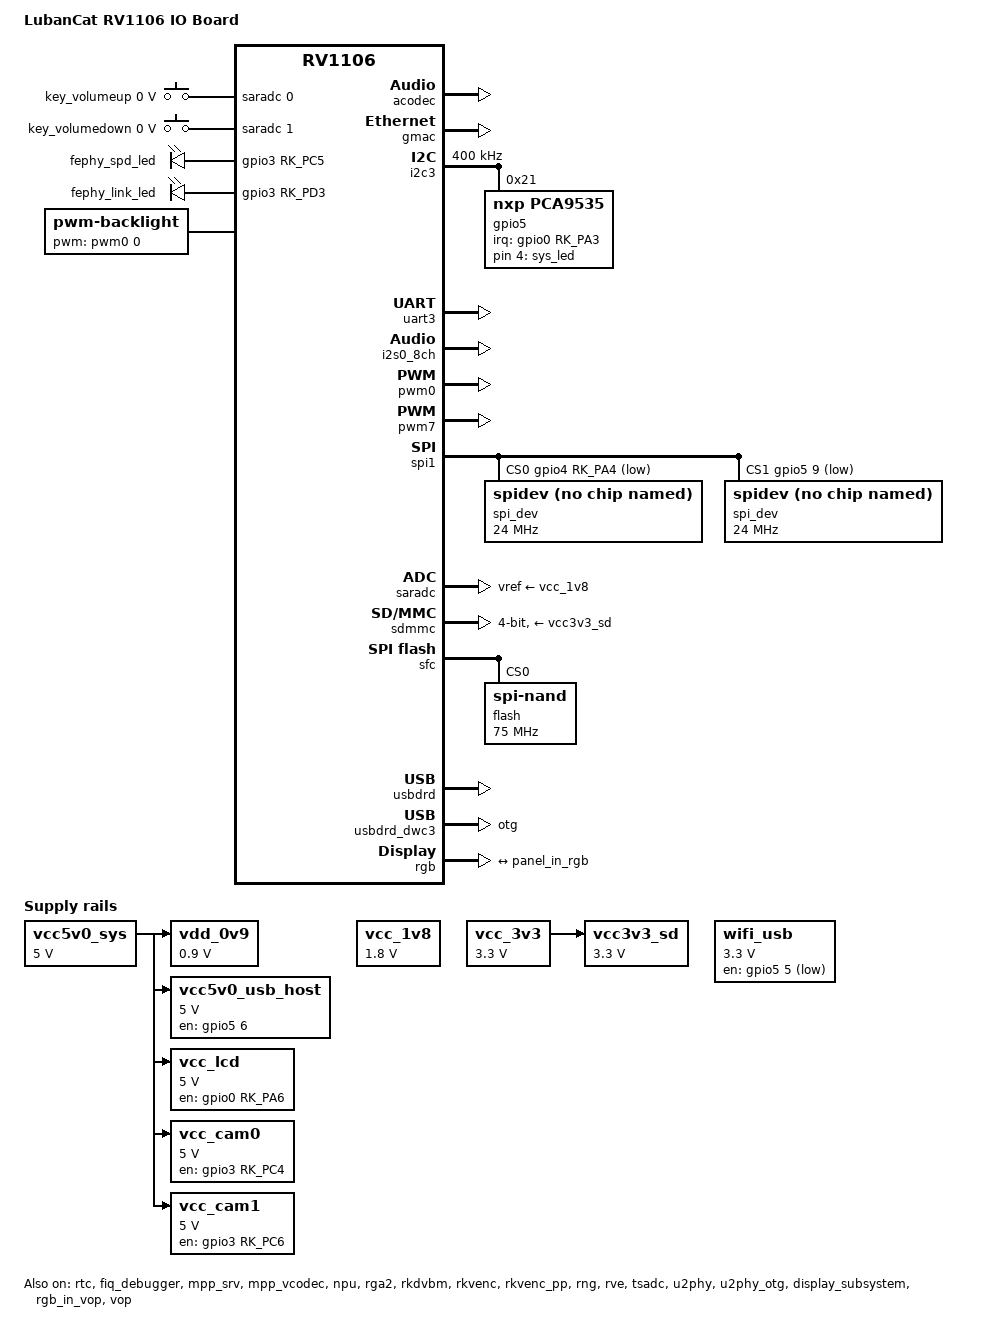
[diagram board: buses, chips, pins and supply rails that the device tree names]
// SPDX-License-Identifier: (GPL-2.0+ OR MIT)
/*
 * Copyright (c) 2022 Rockchip Electronics Co., Ltd.
 */

/dts-v1/;

#include "rv1106.dtsi"

//screen
#include "rv1106g-lubancat-screen-rgb.dtsi"

//camara
#include "rv1106g-lubancat-single-cam.dtsi"
// #include "rv1106g-lubancat-dual-cam.dtsi"

/ {
    model = "LubanCat RV1106 IO Board";
	compatible = "embedfire,rv1106g-lubancat-rv", "rockchip,rv1106";

	chosen {
		bootargs = "earlycon=uart8250,mmio32,0xff4c0000 console=ttyFIQ0 root=/dev/mmcblk0p5 rootfstype=ext4 rootwait snd_soc_core.prealloc_buffer_size_kbytes=16 coherent_pool=0 net.ifnames=0 biosdevname=0";
	};

	acodec_sound: acodec-sound {
		compatible = "simple-audio-card";
		simple-audio-card,name = "rv1106-acodec";
		simple-audio-card,format = "i2s";
		simple-audio-card,mclk-fs = <256>;
		simple-audio-card,cpu {
			sound-dai = <&i2s0_8ch>;
		};
		simple-audio-card,codec {
			sound-dai = <&acodec>;
		};
	};

	restart-poweroff {
		compatible = "restart-poweroff";
	};

	recovery-key {
		compatible = "adc-keys";
		io-channels = <&saradc 0>;
		io-channel-names = "buttons";
		poll-interval = <100>;
		keyup-threshold-microvolt = <1800000>;

		key {
			label = "key_volumeup";
			linux,code = <KEY_VOLUMEUP>;
			press-threshold-microvolt = <0>;
		};
	};

	adc-key {
		compatible = "adc-keys";
		io-channels = <&saradc 1>;
		io-channel-names = "buttons";
		poll-interval = <100>;
		keyup-threshold-microvolt = <1800000>;

		key {
			label = "key_volumedown";
			linux,code = <KEY_VOLUMEDOWN>;
			press-threshold-microvolt = <0>;
		};
	};

	leds: leds {
		status = "okay";
		compatible = "gpio-leds";

		sys_led: sys-led {
			label = "sys_led";
			linux,default-trigger = "heartbeat";
			default-state = "on";
			gpios = <&gpio5 4 GPIO_ACTIVE_HIGH>;
		};

		fephy_spd_led: fephy-spd-led {
			label = "fephy_spd_led";
			linux,default-trigger = "netdev";
			default-state = "off";
			gpios = <&gpio3 RK_PC5 GPIO_ACTIVE_HIGH>;
		};

		fephy_link_led: fephy-link-led {
			label = "fephy_link_led";
			linux,default-trigger = "netdev";
			default-state = "off";
			gpios = <&gpio3 RK_PD3 GPIO_ACTIVE_HIGH>;
		};
	};

	backlight: backlight {
		status = "okay";
		compatible = "pwm-backlight";
		pwms = <&pwm0 0 50000 0>;
		brightness-levels = <
			  0   1   2   3   4   5   6   7
			  8   9  10  11  12  13  14  15
			 16  17  18  19  20  21  22  23
			 24  25  26  27  28  29  30  31
			 32  33  34  35  36  37  38  39
			 40  41  42  43  44  45  46  47
			 48  49  50  51  52  53  54  55
			 56  57  58  59  60  61  62  63
			 64  65  66  67  68  69  70  71
			 72  73  74  75  76  77  78  79
			 80  81  82  83  84  85  86  87
			 88  89  90  91  92  93  94  95
			 96  97  98  99 100 101 102 103
			104 105 106 107 108 109 110 111
			112 113 114 115 116 117 118 119
			120 121 122 123 124 125 126 127
			128 129 130 131 132 133 134 135
			136 137 138 139 140 141 142 143
			144 145 146 147 148 149 150 151
			152 153 154 155 156 157 158 159
			160 161 162 163 164 165 166 167
			168 169 170 171 172 173 174 175
			176 177 178 179 180 181 182 183
			184 185 186 187 188 189 190 191
			192 193 194 195 196 197 198 199
			200 201 202 203 204 205 206 207
			208 209 210 211 212 213 214 215
			216 217 218 219 220 221 222 223
			224 225 226 227 228 229 230 231
			232 233 234 235 236 237 238 239
			240 241 242 243 244 245 246 247
			248 249 250 251 252 253 254 255>;
		default-brightness-level = <255>;
	};

	reserved-memory {
		#address-cells = <1>;
		#size-cells = <1>;
		ranges;

		linux,cma {
			compatible = "shared-dma-pool";
			inactive;
			reusable;
			size = <0x1000000>;
			linux,cma-default;
		};

		drm_logo: drm-logo@00000000 {
			compatible = "rockchip,drm-logo";
			reg = <0x0 0x0>;
		};
	};

	vdd_0v9: vdd-0v9 {
		compatible = "regulator-fixed";
		regulator-name = "vdd_0v9";
		regulator-always-on;
		regulator-boot-on;
		regulator-min-microvolt = <900000>;
		regulator-max-microvolt = <900000>;
		vin-supply = <&vcc5v0_sys>;
	};

	vcc5v0_sys: vcc5v0-sys {
		compatible = "regulator-fixed";
		regulator-name = "vcc5v0_sys";
		regulator-always-on;
		regulator-boot-on;
		regulator-min-microvolt = <5000000>;
		regulator-max-microvolt = <5000000>;
	};

	vcc_1v8: vcc-1v8 {
		compatible = "regulator-fixed";
		regulator-name = "vcc_1v8";
		regulator-always-on;
		regulator-boot-on;
		regulator-min-microvolt = <1800000>;
		regulator-max-microvolt = <1800000>;
	};

	vcc_3v3: vcc-3v3 {
		compatible = "regulator-fixed";
		regulator-name = "vcc_3v3";
		regulator-always-on;
		regulator-boot-on;
		regulator-min-microvolt = <3300000>;
		regulator-max-microvolt = <3300000>;
	};

	vcc3v3_sd: vcc3v3-sd {
		compatible = "regulator-fixed";
		regulator-name = "vcc3v3_sd";
		regulator-always-on;
		regulator-boot-on;
		regulator-min-microvolt = <3300000>;
		regulator-max-microvolt = <3300000>;
		vin-supply = <&vcc_3v3>;
	};

	vcc5v0_usb_host: vcc5v0-usb-host {
		compatible = "regulator-fixed";
		regulator-name = "vcc5v0_usb_host";
		regulator-always-on;
		enable-active-high;
		regulator-boot-on;
		regulator-min-microvolt = <5000000>;
		regulator-max-microvolt = <5000000>;
		gpio = <&gpio5 6 GPIO_ACTIVE_HIGH>;
		vin-supply = <&vcc5v0_sys>;
	};

	vcc_lcd: vcc-lcd {
		compatible = "regulator-fixed";
		regulator-name = "vcc_lcd";
		regulator-always-on;
		enable-active-high;
		regulator-boot-on;
		regulator-min-microvolt = <5000000>;
		regulator-max-microvolt = <5000000>;
		gpio = <&gpio0 RK_PA6 GPIO_ACTIVE_HIGH>;
		vin-supply = <&vcc5v0_sys>;
	};

	vcc_cam0: vcc-cam0 {
		compatible = "regulator-fixed";
		regulator-name = "vcc_cam0";
		regulator-always-on;
		enable-active-high;
		regulator-boot-on;
		regulator-min-microvolt = <5000000>;
		regulator-max-microvolt = <5000000>;
		gpio = <&gpio3 RK_PC4 GPIO_ACTIVE_HIGH>;
		vin-supply = <&vcc5v0_sys>;
	};

	vcc_cam1: vcc-cam1 {
		compatible = "regulator-fixed";
		regulator-name = "vcc_cam1";
		regulator-always-on;
		enable-active-high;
		regulator-boot-on;
		regulator-min-microvolt = <5000000>;
		regulator-max-microvolt = <5000000>;
		gpio = <&gpio3 RK_PC6 GPIO_ACTIVE_HIGH>;
		vin-supply = <&vcc5v0_sys>;
	};	

	wifi_usb: wifi-usb {
		compatible = "regulator-fixed";
		regulator-name = "wifi_usb";
		regulator-always-on;
		enable-active-low;
		regulator-min-microvolt = <3300000>;
		regulator-max-microvolt = <3300000>;	
		gpio = <&gpio5 5 GPIO_ACTIVE_LOW>;
	};

	wireless_wlan: wireless-wlan {
		compatible = "wlan-platdata";
		wifi_chip_type = "AIC8800DC";
		status = "okay";
	};

};

&acodec {
	#sound-dai-cells = <0>;
	pa-ctl-gpios = <&gpio5 7 GPIO_ACTIVE_LOW>;
	status = "okay";
};

&cpu0 {
	cpu-supply = <&vdd_0v9>;
};

&gmac {
	status = "okay";
};

&i2c3 {
    status = "okay";
    clock-frequency = <400000>;
    pinctrl-names = "default";
    pinctrl-0 = <&i2c3m2_xfer>;
	#address-cells = <1>;
	#size-cells = <0>;

	gpio5: gpio-expander@21 {
		compatible = "nxp,pca9535";
		status = "okay";
		reg = <0x21>;
		gpio-controller;
		#gpio-cells = <2>;
		//  = <&gpio5 0 GPIO_ACTIVE_LOW>;
		pinctrl-names = "default";
		pinctrl-0 = <&pinctrl_pca9535>;
		interrupt-parent = <&gpio0>;
		interrupts = <RK_PA3 GPIO_ACTIVE_LOW>;
		interrupt-controller;
		#interrupt-cells = <2>;
	};
};

&uart3 {
	status = "okay";
	pinctrl-names = "default";
	pinctrl-0 = <&uart3m0_xfer>;
};

&i2s0_8ch {
	#sound-dai-cells = <0>;
	status = "okay";
};

&pwm0 {
	status = "okay";
};

&pwm7 {
	status = "okay";
	pinctrl-names = "active";
	pinctrl-0 = <&pwm7m1_pins>;
};

&spi1 {
	status = "okay";
	status = "okay";
	#address-cells = <1>;
	#size-cells = <0>;
	// SPI gpio模拟多个cs信号 
	pinctrl-names = "default";
	pinctrl-0 = <&spi1m0_cs0 &spi1m0_pins>;
	cs-gpios = <&gpio4 RK_PA4 GPIO_ACTIVE_LOW>, <&gpio5 9 GPIO_ACTIVE_LOW>;

	spi_dev@0 {
		compatible = "rockchip,spidev";
		reg = <0>; //chip select 0:cs0  1:cs1
		spi-max-frequency = <24000000>; //spi output clock
	};

	spi_dev@1 {
		compatible = "rockchip,spidev";
		reg = <1>;
		spi-max-frequency = <24000000>;
	};
};

&rmii_phy {
	bgs,increment = <0>;
};

&rtc {
	status = "okay";
};

&saradc {
	status = "okay";
	vref-supply = <&vcc_1v8>;
};

&sdmmc {
	max-frequency = <200000000>;
	no-sdio;
	no-mmc;
	bus-width = <4>;
	cap-mmc-highspeed;
	cap-sd-highspeed;
	disable-wp;
	pinctrl-names = "normal", "idle";
	pinctrl-0 = <&sdmmc0_clk &sdmmc0_cmd &sdmmc0_det &sdmmc0_bus4>;
	pinctrl-1 = <&sdmmc0_idle_pins &sdmmc0_det>;
	vmmc-supply = <&vcc3v3_sd>;
	status = "okay";
};

&sfc {
	status = "okay";

	flash@0 {
		compatible = "spi-nand";
		reg = <0>;
		spi-max-frequency = <75000000>;
		spi-rx-bus-width = <4>;
		spi-tx-bus-width = <1>;
	};
};

&fiq_debugger {
	rockchip,irq-mode-enable = <1>;
	status = "okay";
};

&mpp_srv {
	status = "okay";
};

&mpp_vcodec {
	status = "okay";
};

&npu {
	status = "okay";
};

&rga2 {
	status = "okay";
};

&rkdvbm {
	status = "okay";
};

&rkvenc {
	status = "okay";
};

&rkvenc_pp {
	status = "okay";
};

&rng {
	status = "okay";
};

&rve {
	status = "okay";
};

&tsadc {
	status = "okay";
};

&u2phy {
	status = "okay";
};

&u2phy_otg {
	status = "okay";
};

&usbdrd {
	status = "okay";
};

&usbdrd_dwc3 {
    extcon = <&u2phy>;
	status = "okay";
    dr_mode = "otg";
};

&display_subsystem {
	status = "okay";
	logo-memory-region = <&drm_logo>;
};

&rgb {
	status = "okay";
	pinctrl-names = "default";
	pinctrl-0 = <&lcd_pins>;

	ports {
		rgb_out: port@1 {
			reg = <1>;
			#address-cells = <1>;
			#size-cells = <0>;

            rgb_out_panel: endpoint@0 {
                reg = <0>;
                remote-endpoint = <&panel_in_rgb>;
            };
		};
	};
};

&rgb_in_vop {
	status = "okay";
};

&route_rgb {
    status = "disabled";
};

&vop {
	status = "okay";
};

&pinctrl {
	io-expand {
		pinctrl_pca9535: pinctrl-pca9535 {
			rockchip,pins = <0 RK_PA3 RK_FUNC_GPIO &pcfg_pull_none>;
		};
	};
};
